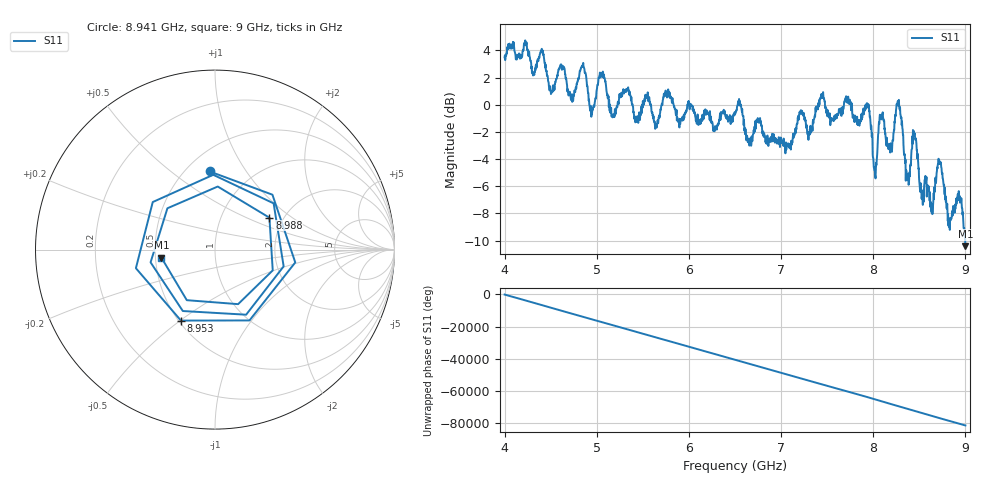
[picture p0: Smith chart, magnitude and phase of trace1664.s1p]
! Created with skrf 1.8.0 (http://scikit-rf.org).
# Hz S RI R 50.0
!freq ReS11 ImS11
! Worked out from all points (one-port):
!   1601 points, 4 GHz to 9 GHz, reference 50 ohm
!   lowest |S11| = -10.4 dB at 9 GHz (marker M1), VSWR 1.86, Z = 26.9 - j2.7 ohm
!   |S11| at or under -10 dB: 8.997895 GHz to end of sweep
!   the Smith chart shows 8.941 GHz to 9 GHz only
!   S11 on the Smith chart (normalised r, x): 8.941 GHz: 0.65, +0.70; 8.953 GHz: 0.51, -0.50; 8.988 GHz: 1.69, +0.69; 9 GHz: 0.54, -0.05
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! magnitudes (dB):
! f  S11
! 4 GHz  3.5
! 4.506 GHz  1.0
! 4.625 GHz  2.9
! 4.728 GHz  0.4
! 4.856 GHz  2.8
! 4.944 GHz  -0.5
! 5.044 GHz  2.2
! 5.162 GHz  -0.9
! 5.25 GHz  0.5
! 5.875 GHz  -1.0
! 6.5 GHz  -0.7
! 7.125 GHz  -2.6
! 7.75 GHz  0.1
! 7.944 GHz  -0.2
! 8.019 GHz  -5.2
! 8.084 GHz  -0.9
! 8.181 GHz  -3.0
! 8.272 GHz  -0.1
! 8.375 GHz  -5.3
! 8.45 GHz  -2.1
! 8.525 GHz  -6.9
! 8.644 GHz  -8.0
! 8.716 GHz  -4.2
! 8.828 GHz  -8.8
! 8.941 GHz  -7.2
! 8.953 GHz  -7.2
! 8.988 GHz  -9.1
! 9 GHz  -10.4
